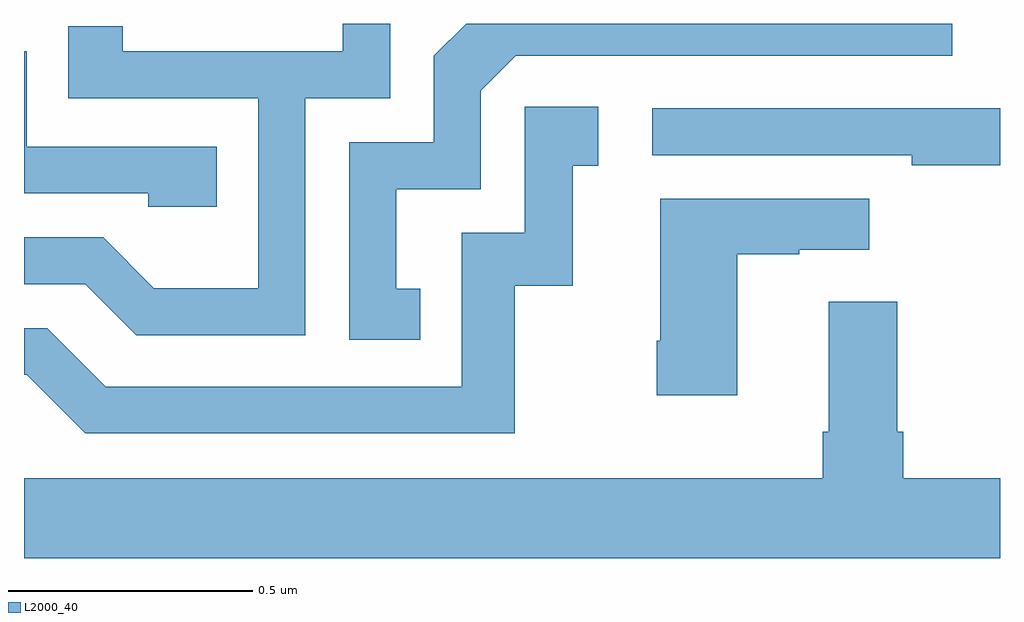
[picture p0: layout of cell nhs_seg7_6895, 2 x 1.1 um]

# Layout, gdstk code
import gdstk
lib = gdstk.Library(unit=1e-6, precision=1e-09)
def P(c, l, *ps):  # polygons
    for p in ps: c.add(gdstk.Polygon(p, *l))
L2000_40 = (2000, 40)

nhs_seg7_6895 = lib.new_cell('nhs_seg7_6895')
P(nhs_seg7_6895, L2000_40, [(204.812,1046.457),(204.763,1046.457),(204.763,1046.661),(204.936,1046.661),(204.936,1046.862),(205.008,1046.934),(205.902,1046.934),(205.902,1047),(204.906,1047),(204.84,1046.934),(204.84,1046.757),(204.666,1046.757),(204.666,1046.352),(204.812,1046.352)],
  [(204.576,1046.847),(204.75,1046.847),(204.75,1047),(204.653,1047),(204.653,1046.943),(204.202,1046.943),(204.202,1046.995),(204.091,1046.995),(204.091,1046.847),(204.48,1046.847),(204.48,1046.458),(204.266,1046.458),(204.162,1046.562),(204,1046.562),(204,1046.466),(204.125,1046.466),(204.23,1046.361),(204.576,1046.361)],
  [(204.395,1046.748),(204.006,1046.748),(204.006,1046.943),(204,1046.943),(204,1046.652),(204.255,1046.652),(204.255,1046.625),(204.395,1046.625)],
  [(205.006,1046.463),(205.124,1046.463),(205.124,1046.709),(205.177,1046.709),(205.177,1046.83),(205.026,1046.83),(205.026,1046.571),(204.897,1046.571),(204.897,1046.256),(204.168,1046.256),(204.048,1046.376),(204,1046.376),(204,1046.28),(204.006,1046.28),(204.126,1046.16),(205.006,1046.16)],
  [(206,1046.826),(205.287,1046.826),(205.287,1046.73),(205.819,1046.73),(205.819,1046.71),(206,1046.71)],
  [(205.462,1046.527),(205.589,1046.527),(205.589,1046.537),(205.732,1046.537),(205.732,1046.641),(205.304,1046.641),(205.304,1046.35),(205.297,1046.35),(205.297,1046.238),(205.462,1046.238)],
  [(206,1046.068),(205.802,1046.068),(205.802,1046.164),(205.789,1046.164),(205.789,1046.43),(205.649,1046.43),(205.649,1046.164),(205.637,1046.164),(205.637,1046.068),(204,1046.068),(204,1045.904),(206,1045.904)])

lib.write_gds('nhs_seg7_6895.gds')
